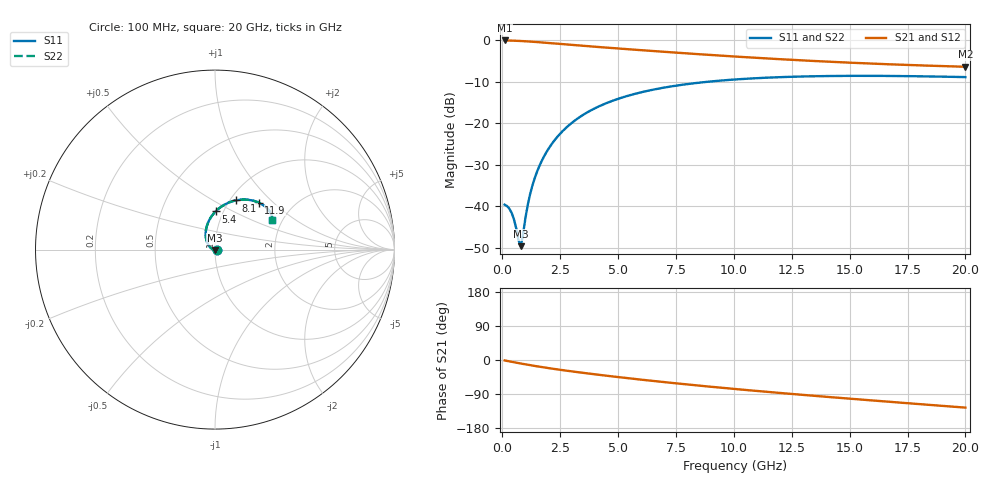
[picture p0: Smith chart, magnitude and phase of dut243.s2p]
! Touchstone file exported from HFSS 2024.1.0
!  File:  C:/UserFiles/LocalFiles/RDL_TSV_Batchsim/temp_RDL_TSV_243_1779454474.aedt
!  Generated:  09:13:10 PM May 22, 2026
!  Design:  RDL_TSV
!  Project:  temp_RDL_TSV_243_1779454474
!  Setup:  Setup1
!  Solution:  Sweep
! Variables:
!  dtsv = 10.27um
!  hbump = 3um
!  htsv = 69.95um
!  ldown = 151.47um
!  lrdl = 262.46um
!  p = 40
!  p1 = 47.1um
!  rhole = 10um
!  subl = 1504.25um
!  t = 450um
!  tdown = 2.85um
!  trdl = 4.37um
!  viad = 10um
!  wdown = 23.94um
!  wrdl = 11.19um
!  xbump = 18um
# GHz S MA R 50.000000
! Terminal data exported
! Port[1] = TM1_1_T1
! Port[2] = TM1_4_T1
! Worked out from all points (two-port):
!   200 points, 100 MHz to 20 GHz, reference 50 ohm
!   highest |S21| = -0.10 dB at 100 MHz (marker M1); lowest = -6.4 dB at 20 GHz (marker M2)
!   |S21| within 3 dB of the highest: start of sweep to 7.684 GHz
!   lowest |S11| = -49.6 dB at 800 MHz (marker M3), VSWR 1.01, Z = 49.9 - j0.317 ohm
!   |S11| at or under -10 dB: start of sweep to 8.921 GHz
!   |S22| runs from -49.6 to -8.6 dB; largest |S21 - S12| = 1.7e-14
!   S11 on the Smith chart (normalised r, x): 100 MHz: 1.02, -0.00; 5.4 GHz: 0.92, +0.41; 8.1 GHz: 1.07, +0.64; 11.9 GHz: 1.36, +0.82; 20 GHz: 1.77, +0.67
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0.1  0.0105 -3.6  0.9891 -1.2  0.9891 -1.2  0.0105 -3.6
! Gamma 0 0 0 0
! Port Impedance 50 0 50 0
0.3  0.009444 -12.8  0.9868 -3.6  0.9868 -3.6  0.009442 -12.8
0.4  0.008414 -19.1  0.9849 -4.7  0.9849 -4.7  0.00841 -19.1
0.5  0.00706 -27.5  0.9827 -5.9  0.9827 -5.9  0.007055 -27.5
0.7  0.003929 -63.7  0.9774 -8.2  0.9774 -8.2  0.003923 -63.8
0.8  0.003329 -107.4  0.9742 -9.3  0.9742 -9.3  0.003329 -107.6
1.1  0.01046 179.3  0.9632 -12.5  0.9632 -12.5  0.01048 179.3
1.2  0.014 171.7  0.9592 -13.6  0.9592 -13.6  0.01403 171.7
1.4  0.02187 161.3  0.9505 -15.6  0.9505 -15.6  0.0219 161.3
1.7  0.0351 150.5  0.9367 -18.6  0.9367 -18.6  0.03515 150.5
2.1  0.0545 139.6  0.9174 -22.3  0.9174 -22.3  0.05457 139.6
2.5  0.07498 130.5  0.8982 -25.9  0.8982 -25.9  0.07508 130.5
3.5  0.1266 112.7  0.8525 -34.0  0.8525 -34.0  0.1268 112.7
4.4  0.17 100.3  0.8151 -40.8  0.8151 -40.8  0.1703 100.3
5.4  0.2129 89.0  0.777 -47.8  0.777 -47.8  0.2132 89.0
6.8  0.2625 76.3  0.7284 -57.1  0.7284 -57.1  0.2629 76.4
8.1  0.2982 66.8  0.6876 -65.2  0.6876 -65.2  0.2987 66.9
10.1  0.3367 55.2  0.6325 -76.8  0.6325 -76.8  0.3372 55.2
11.9  0.3574 47.0  0.5908 -86.5  0.5908 -86.5  0.358 47.0
13.4  0.367 41.5  0.5614 -94.2  0.5614 -94.2  0.3676 41.5
16.7  0.3704 32.5  0.5115 -110.2  0.5115 -110.2  0.371 32.5
20  0.3587 27.4  0.4775 -125.7  0.4775 -125.7  0.3593 27.4
